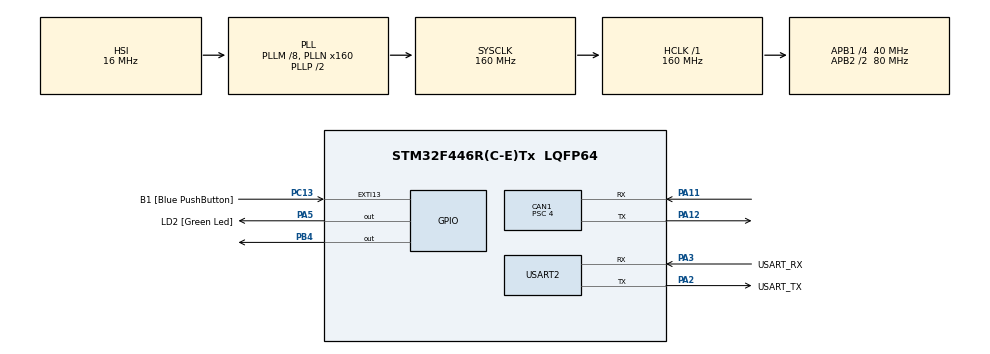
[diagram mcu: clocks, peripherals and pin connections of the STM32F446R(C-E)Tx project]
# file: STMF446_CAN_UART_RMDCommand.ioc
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CAN1.BS1=CAN_BS1_2TQ
CAN1.BS2=CAN_BS2_7TQ
CAN1.CalculateBaudRate=1000000
CAN1.CalculateTimeBit=1000
CAN1.CalculateTimeQuantum=100.0
CAN1.Prescaler=4
CAN1.SJW=CAN_SJW_2TQ
Mcu.Family=STM32F4
Mcu.Name=STM32F446R(C-E)Tx
Mcu.Package=LQFP64
NVIC.CAN1_RX0_IRQn=true\:0\:0\:true\:false\:true\:true\:true\:true
NVIC.CAN1_TX_IRQn=true\:0\:0\:true\:false\:true\:true\:true\:true
NVIC.PriorityGroup=NVIC_PRIORITYGROUP_4
NVIC.USART2_IRQn=true\:0\:0\:false\:false\:true\:true\:true\:true
PA11.GPIO_Speed=GPIO_SPEED_FREQ_VERY_HIGH
PA11.Mode=CAN_Activate
PA11.Signal=CAN1_RX
PA12.GPIO_PuPd=GPIO_PULLUP
PA12.GPIO_Speed=GPIO_SPEED_FREQ_VERY_HIGH
PA12.Mode=CAN_Activate
PA12.Signal=CAN1_TX
PA13.GPIO_Label=TMS
PA13.Mode=Serial_Wire
PA13.Signal=SYS_JTMS-SWDIO
PA14.GPIO_Label=TCK
PA14.Mode=Serial_Wire
PA14.Signal=SYS_JTCK-SWCLK
PA2.GPIO_Label=USART_TX
PA2.Mode=Asynchronous
PA2.Signal=USART2_TX
PA3.GPIO_Label=USART_RX
PA3.Mode=Asynchronous
PA3.Signal=USART2_RX
PA5.GPIO_Label=LD2 [Green Led]
PA5.Signal=GPIO_Output
PB3.GPIO_Label=SWO
PB3.Signal=SYS_JTDO-SWO
PB4.Signal=GPIO_Output
PC13.GPIO_Label=B1 [Blue PushButton]
PC13.GPIO_ModeDefaultEXTI=GPIO_MODE_IT_FALLING
PC13.Signal=GPXTI13
PC14-OSC32_IN.Mode=LSE-External-Oscillator
PC14-OSC32_IN.Signal=RCC_OSC32_IN
PC15-OSC32_OUT.Mode=LSE-External-Oscillator
PC15-OSC32_OUT.Signal=RCC_OSC32_OUT
PH0-OSC_IN.Mode=HSE-External-Oscillator
PH0-OSC_IN.Signal=RCC_OSC_IN
PH1-OSC_OUT.Mode=HSE-External-Oscillator
PH1-OSC_OUT.Signal=RCC_OSC_OUT
ProjectManager.HeapSize=0x200
ProjectManager.StackSize=0x400
ProjectManager.TargetToolchain=STM32CubeIDE
RCC.48MHZClocksFreq_Value=84000000
RCC.AHBFreq_Value=160000000
RCC.APB1CLKDivider=RCC_HCLK_DIV4
RCC.APB1Freq_Value=40000000
RCC.APB1TimFreq_Value=80000000
RCC.APB2CLKDivider=RCC_HCLK_DIV2
RCC.APB2Freq_Value=80000000
RCC.APB2TimFreq_Value=160000000
RCC.CortexFreq_Value=160000000
RCC.FLatency-AdvancedSettings=FLASH_LATENCY_5
RCC.HCLKFreq_Value=160000000
RCC.HSE_VALUE=8000000
RCC.HSI_VALUE=16000000
RCC.PLLM=8
RCC.PLLN=160
RCC.SYSCLKFreq_VALUE=160000000
RCC.SYSCLKSource=RCC_SYSCLKSOURCE_PLLCLK
RCC.USBFreq_Value=160000000
RCC.VCOOutputFreq_Value=320000000
USART2.VirtualMode=VM_ASYNC
board=NUCLEO-F446RE

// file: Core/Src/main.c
/* USER CODE BEGIN Header */
/**
  ******************************************************************************
  * @file           : main.c
  * @brief          : Main program body
  ******************************************************************************
  * @attention
  *
  * Copyright (c) 2022 STMicroelectronics.
  * All rights reserved.
  *
  * This software is licensed under terms that can be found in the LICENSE file
  * in the root directory of this software component.
  * If no LICENSE file comes with this software, it is provided AS-IS.
  *
  ******************************************************************************
  */
/* USER CODE END Header */
#include "main.h"

/* USER CODE BEGIN Includes */
#include<stdio.h>
#include<stdlib.h>
/* USER CODE END Includes */

 CAN_HandleTypeDef hcan1;

UART_HandleTypeDef huart2;

/* USER CODE BEGIN PV */
CAN_FilterTypeDef sFilterConfig;
CAN_TxHeaderTypeDef TxHeader;
CAN_RxHeaderTypeDef RxHeader;
uint8_t TxData[8];
uint8_t RxData[8];
uint32_t TxMailbox;
uint8_t cmd_data = 0x00;
uint8_t UART1_Data[8];
uint8_t get_uart_flag = 0;
uint8_t get_can_flag = 0; //canを受信したかどうかのflag
char RMD_cmd;

/* USER CODE END PV */

void SystemClock_Config(void);
static void MX_GPIO_Init(void);
static void MX_USART2_UART_Init(void);
static void MX_CAN1_Init(void);

/* USER CODE BEGIN 0 */
uint8_t uart_data;
char tx_data[]="get_data\r\n";
int flag = 1;

void RMDCommand(){
	get_can_flag=1;
	TxHeader.StdId=0x141;
	//TxHeader.ExtId=0x01;
	TxHeader.RTR = CAN_RTR_DATA;
	TxHeader.IDE = CAN_ID_STD;
	TxHeader.DLC = 0x08;
	TxHeader.TransmitGlobalTime = DISABLE;

switch(UART1_Data[0]){
case 0xA4:

	TxData[0] = 0xA4;
	TxData[1] = UART1_Data[1];
	TxData[2] = 0x64;
	TxData[3] = 0x00;
	TxData[4] = UART1_Data[4];
	TxData[5] = UART1_Data[5];
//	TxData[4] = 0x50;
//	TxData[5] = 0x46;
	TxData[6] = 0x00;
	TxData[7] = 0x00;
	break;
case 0x90:
	TxData[0] = 0x90;
	TxData[1] = RxData[1];
	TxData[2] = RxData[2];
	TxData[3] = RxData[3];
	TxData[4] = RxData[4];
	TxData[5] = RxData[5];
	TxData[6] = RxData[6];
	TxData[7] = RxData[7];
	break;
default:
	break;
}

}
/* USER CODE END 0 */

int main(void)
{

  /* MCU Configuration--------------------------------------------------------*/

  /* Reset of all peripherals, Initializes the Flash interface and the Systick. */
  HAL_Init();

  /* Configure the system clock */
  SystemClock_Config();

  /* Initialize all configured peripherals */
  MX_GPIO_Init();
  MX_USART2_UART_Init();
  MX_CAN1_Init();
  /* USER CODE BEGIN 2 */

sFilterConfig.FilterBank = 0;
sFilterConfig.FilterMode = CAN_FILTERMODE_IDMASK;
sFilterConfig.FilterScale = CAN_FILTERSCALE_32BIT;
sFilterConfig.FilterIdHigh = 0x0000;
sFilterConfig.FilterIdLow = 0x0000;
sFilterConfig.FilterMaskIdHigh = 0x0000;
sFilterConfig.FilterMaskIdLow = 0x0000;
sFilterConfig.FilterFIFOAssignment = CAN_RX_FIFO0;
//	sFilterConfig.FilterFIFOAssignment =CAN_FILTER_FIFO0;
sFilterConfig.FilterActivation=ENABLE;
sFilterConfig.SlaveStartFilterBank=14;

if(HAL_CAN_ConfigFilter(&hcan1,&sFilterConfig) != HAL_OK)
{
	Error_Handler();
}
if(HAL_CAN_Start(&hcan1)!=HAL_OK)
{
	Error_Handler();
}

if(HAL_CAN_ActivateNotification(&hcan1,CAN_IT_RX_FIFO0_MSG_PENDING | CAN_IT_TX_MAILBOX_EMPTY) != HAL_OK)
{
	Error_Handler();
}
//	if (HAL_CAN_AddTxMessage(&hcan1, &TxHeader, TxData, &TxMailbox) != HAL_OK)
//	{
//	   Error_Handler ();
//	}
//	HAL_CAN_ConfigFilter(&hcan1, &sFilterConfig);
//	HAL_CAN_Start(&hcan1);
//	HAL_CAN_ActivateNotification(&hcan1, CAN_IT_RX_FIFO0_MSG_PENDING);

//if (HAL_CAN_AddTxMessage(&hcan1, &TxHeader, TxData, &TxMailbox) != HAL_OK)
//	  {
//	     Error_Handler ();
//	  }

char KeyCommand[1];
KeyCommand[0]=0;
//int KeyChange;
  /* USER CODE END 2 */

  /* Infinite loop */
  /* USER CODE BEGIN WHILE */
  while (1)
  {
	  //受信割り込みの開始=6byte受け取ったら次の処理へ
	  get_uart_flag=0;
	  get_can_flag=0;
	  int i=0;
	  HAL_UART_Receive_IT(&huart2, (uint8_t *)KeyCommand, 1);
//	  printf("Key %d\r\n",KeyChange);
	  HAL_UART_Transmit_IT(&huart2, (uint8_t *)KeyCommand, 1);
	  //受信するまで待つ
	  while(!get_uart_flag){}

  	   //canデータ受信用のフラグを0に
//	  printf("beforecase\r\n");
	  if(0 < HAL_CAN_GetTxMailboxesFreeLevel(&hcan1)){
		  if(KeyCommand[0]!=0 ){
			  switch(KeyCommand[0]){
			  case '1':
				  UART1_Data[0] = 0xA4;
				  UART1_Data[4] = 0x00;
				  UART1_Data[5] = 0x00;
				  printf("case : 1\r\n");
				  KeyCommand[0]=0;
				  break;
			  case'2':
				  UART1_Data[0] = 0xA4;
				  UART1_Data[4] = 0x50;
				  UART1_Data[5] = 0x46;
				  printf("case : 2\r\n");
				  KeyCommand[0]=0;
				  break;
			  case'3':
				  UART1_Data[0] = 0x90;
				  KeyCommand[0]=0;
			  default:
				  KeyCommand[0]=0;
				  break;
			  }
			  RMDCommand();
		  }else{
			  printf("Mailbox congestion\r\n");
		  }
		  HAL_CAN_AddTxMessage(&hcan1,&TxHeader,TxData,&TxMailbox);
		  printf("Command : 0x%x\r\n",TxData[0]);
		  for(i=0;i < 8;i++){
			  printf("DATA[%d]",i);
			  printf("0x%x\r\n",TxData[i]);
		  }
		  while(!get_can_flag){}
	  }

//	  if(KeyCommand[2]=='2'){
//	  	  		  printf("2\r\n");
//	  	  	  }
//	  if(KeyCommand[3]=='3'){
//	  	  	  		  printf("3\r\n");
//	  	  	  	  }
//	  else{
//		  printf("Nocomand\r\n");
//	  }
//	  scanf("%s",&KeyCommand);
//	  printf("%s",KeyCommand);

//	  RMDCommand();

	 // printf("UARTdata:%s\r\n",KeyCommand[0]);

//	  if(get_can_flag)

//	  HAL_Delay(100);
    /* USER CODE END WHILE */

  }
}

void SystemClock_Config(void)
{
  RCC_OscInitTypeDef RCC_OscInitStruct = {0};
  RCC_ClkInitTypeDef RCC_ClkInitStruct = {0};

  /** Configure the main internal regulator output voltage
  */
  __HAL_RCC_PWR_CLK_ENABLE();
  __HAL_PWR_VOLTAGESCALING_CONFIG(PWR_REGULATOR_VOLTAGE_SCALE1);

  /** Initializes the RCC Oscillators according to the specified parameters
  * in the RCC_OscInitTypeDef structure.
  */
  RCC_OscInitStruct.OscillatorType = RCC_OSCILLATORTYPE_HSI;
  RCC_OscInitStruct.HSIState = RCC_HSI_ON;
  RCC_OscInitStruct.HSICalibrationValue = RCC_HSICALIBRATION_DEFAULT;
  RCC_OscInitStruct.PLL.PLLState = RCC_PLL_ON;
  RCC_OscInitStruct.PLL.PLLSource = RCC_PLLSOURCE_HSI;
  RCC_OscInitStruct.PLL.PLLM = 8;
  RCC_OscInitStruct.PLL.PLLN = 160;
  RCC_OscInitStruct.PLL.PLLP = RCC_PLLP_DIV2;
  RCC_OscInitStruct.PLL.PLLQ = 2;
  RCC_OscInitStruct.PLL.PLLR = 2;
  if (HAL_RCC_OscConfig(&RCC_OscInitStruct) != HAL_OK)
  {
    Error_Handler();
  }

  /** Initializes the CPU, AHB and APB buses clocks
  */
  RCC_ClkInitStruct.ClockType = RCC_CLOCKTYPE_HCLK|RCC_CLOCKTYPE_SYSCLK
                              |RCC_CLOCKTYPE_PCLK1|RCC_CLOCKTYPE_PCLK2;
  RCC_ClkInitStruct.SYSCLKSource = RCC_SYSCLKSOURCE_PLLCLK;
  RCC_ClkInitStruct.AHBCLKDivider = RCC_SYSCLK_DIV1;
  RCC_ClkInitStruct.APB1CLKDivider = RCC_HCLK_DIV4;
  RCC_ClkInitStruct.APB2CLKDivider = RCC_HCLK_DIV2;

  if (HAL_RCC_ClockConfig(&RCC_ClkInitStruct, FLASH_LATENCY_5) != HAL_OK)
  {
    Error_Handler();
  }
}

static void MX_CAN1_Init(void)
{

  hcan1.Instance = CAN1;
  hcan1.Init.Prescaler = 4;
  hcan1.Init.Mode = CAN_MODE_NORMAL;
  hcan1.Init.SyncJumpWidth = CAN_SJW_2TQ;
  hcan1.Init.TimeSeg1 = CAN_BS1_2TQ;
  hcan1.Init.TimeSeg2 = CAN_BS2_7TQ;
  hcan1.Init.TimeTriggeredMode = DISABLE;
  hcan1.Init.AutoBusOff = DISABLE;
  hcan1.Init.AutoWakeUp = DISABLE;
  hcan1.Init.AutoRetransmission = DISABLE;
  hcan1.Init.ReceiveFifoLocked = DISABLE;
  hcan1.Init.TransmitFifoPriority = DISABLE;
  if (HAL_CAN_Init(&hcan1) != HAL_OK)
  {
    Error_Handler();
  }

}

static void MX_USART2_UART_Init(void)
{

  huart2.Instance = USART2;
  huart2.Init.BaudRate = 115200;
  huart2.Init.WordLength = UART_WORDLENGTH_8B;
  huart2.Init.StopBits = UART_STOPBITS_1;
  huart2.Init.Parity = UART_PARITY_NONE;
  huart2.Init.Mode = UART_MODE_TX_RX;
  huart2.Init.HwFlowCtl = UART_HWCONTROL_NONE;
  huart2.Init.OverSampling = UART_OVERSAMPLING_16;
  if (HAL_UART_Init(&huart2) != HAL_OK)
  {
    Error_Handler();
  }

}

static void MX_GPIO_Init(void)
{
  GPIO_InitTypeDef GPIO_InitStruct = {0};

  /* GPIO Ports Clock Enable */
  __HAL_RCC_GPIOC_CLK_ENABLE();
  __HAL_RCC_GPIOH_CLK_ENABLE();
  __HAL_RCC_GPIOA_CLK_ENABLE();
  __HAL_RCC_GPIOB_CLK_ENABLE();

  /*Configure GPIO pin Output Level */
  HAL_GPIO_WritePin(LD2_GPIO_Port, LD2_Pin, GPIO_PIN_RESET);

  /*Configure GPIO pin Output Level */
  HAL_GPIO_WritePin(GPIOB, GPIO_PIN_4, GPIO_PIN_RESET);

  /*Configure GPIO pin : B1_Pin */
  GPIO_InitStruct.Pin = B1_Pin;
  GPIO_InitStruct.Mode = GPIO_MODE_IT_FALLING;
  GPIO_InitStruct.Pull = GPIO_NOPULL;
  HAL_GPIO_Init(B1_GPIO_Port, &GPIO_InitStruct);

  /*Configure GPIO pin : LD2_Pin */
  GPIO_InitStruct.Pin = LD2_Pin;
  GPIO_InitStruct.Mode = GPIO_MODE_OUTPUT_PP;
  GPIO_InitStruct.Pull = GPIO_NOPULL;
  GPIO_InitStruct.Speed = GPIO_SPEED_FREQ_LOW;
  HAL_GPIO_Init(LD2_GPIO_Port, &GPIO_InitStruct);

  /*Configure GPIO pin : PB4 */
  GPIO_InitStruct.Pin = GPIO_PIN_4;
  GPIO_InitStruct.Mode = GPIO_MODE_OUTPUT_PP;
  GPIO_InitStruct.Pull = GPIO_NOPULL;
  GPIO_InitStruct.Speed = GPIO_SPEED_FREQ_LOW;
  HAL_GPIO_Init(GPIOB, &GPIO_InitStruct);

}

/* USER CODE BEGIN 4 */
int _write(int file, char *ptr, int len)	//printfに必要
{
  HAL_UART_Transmit(&huart2,(uint8_t *)ptr,len,10);
  return len;
}

void HAL_UART_RxCpltCallback(UART_HandleTypeDef*UartHandle)
{
//	HAL_UART_Transmit(&huart2,UART1_Data,6,1000);
	get_uart_flag=1;

}
void HAL_CAN_TxMailbox0CompleteCallack(CAN_HandleTypeDef *hcan)
{
	  HAL_GPIO_WritePin(GPIOA,GPIO_PIN_5,1);
	  printf("Tx_can\r\n");

}

void HAL_CAN_RxFifo0MsgPendingCallback(CAN_HandleTypeDef *hcan_)
{
	printf("Rx_can\r\n");
	HAL_CAN_GetRxMessage(&hcan1,CAN_RX_FIFO0, &RxHeader,RxData);
	HAL_UART_Transmit(&huart2,RxData,sizeof(RxData),1000);//受け取ったデータを送信
	printf("\r\n");

//HAL_UART_Transmit(&huart2,&RxHeader,4);
  get_can_flag=1;
//  HAL_UART_Transmit(&huart2,RxData,1,3000);
//  flag *= -1;
//  if(flag >0){
//	  HAL_GPIO_WritePin(GPIOA,GPIO_PIN_5,1);
//  }else{
//	  HAL_GPIO_WritePin(GPIOA,GPIO_PIN_5,0);
//  }
}

/* USER CODE END 4 */

void Error_Handler(void)
{
  __disable_irq();
  while (1)
  {
  }
}
